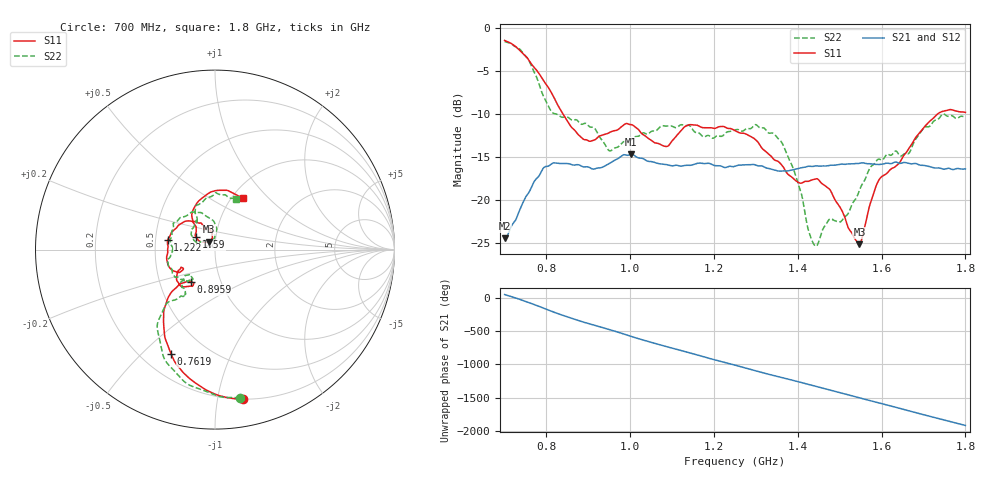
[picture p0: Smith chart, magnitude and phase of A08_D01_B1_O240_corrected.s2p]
! Created with skrf 1.9.0 (http://scikit-rf.org).
# Hz S RI R 50.0
!freq ReS11 ImS11 ReS21 ImS21 ReS12 ImS12 ReS22 ImS22
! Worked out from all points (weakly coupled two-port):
!   1601 points, 700 MHz to 1.8 GHz, reference 50 ohm
!   highest |S21| = -14.66 dB at 1.002 GHz (marker M1); lowest = -24.4 dB at 700 MHz (marker M2)
!   lowest |S11| = -25.1 dB at 1.547 GHz (marker M3), VSWR 1.12, Z = 46.7 + j4.19 ohm
!   |S11| at or under -10 dB: 839.6 MHz to 1.733 GHz (893.2 MHz wide, 69.4 % of centre)
!   |S22| runs from -25.3 to -1.5 dB; largest |S21 - S12| = 0.0038
!   S11 on the Smith chart (normalised r, x): 700 MHz: 0.20, -1.19; 761.9 MHz: 0.32, -0.62; 895.9 MHz: 0.72, -0.27; 1.222 GHz: 0.58, +0.07; 1.59 GHz: 0.80, +0.11; 1.8 GHz: 1.12, +0.72
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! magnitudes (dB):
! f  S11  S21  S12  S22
! 700 MHz  -1.4  -24.4  -24.2  -1.5
! 761.9 MHz  -4.0  -18.7  -18.7  -4.2
! 812.1 MHz  -7.5  -15.8  -15.7  -9.7
! 883.6 MHz  -12.7  -16.0  -15.9  -11.2
! 895.9 MHz  -13.0  -16.1  -16.2  -11.1
! 950.9 MHz  -12.1  -15.7  -15.7  -14.3
! 1.002 GHz  -11.2  -14.7  -14.8  -13.0
! 1.067 GHz  -13.4  -15.7  -15.7  -11.7
! 1.139 GHz  -11.2  -15.9  -15.9  -11.3
! 1.222 GHz  -11.4  -16.1  -16.2  -12.5
! 1.25 GHz  -11.9  -16.1  -16.0  -11.8
! 1.36 GHz  -15.8  -16.6  -16.6  -13.2
! 1.403 GHz  -18.0  -16.3  -16.3  -18.5
! 1.434 GHz  -17.6  -16.1  -16.0  -24.7
! 1.476 GHz  -18.8  -15.9  -16.0  -22.2
! 1.505 GHz  -21.2  -15.8  -15.8  -22.4
! 1.547 GHz  -25.1  -15.7  -15.7  -18.9
! 1.59 GHz  -18.0  -15.8  -15.8  -15.3
! 1.617 GHz  -16.6  -15.7  -15.7  -14.7
! 1.664 GHz  -14.1  -15.7  -15.7  -14.6
! 1.735 GHz  -9.9  -16.2  -16.3  -10.6
! 1.8 GHz  -9.8  -16.4  -16.4  -10.3
